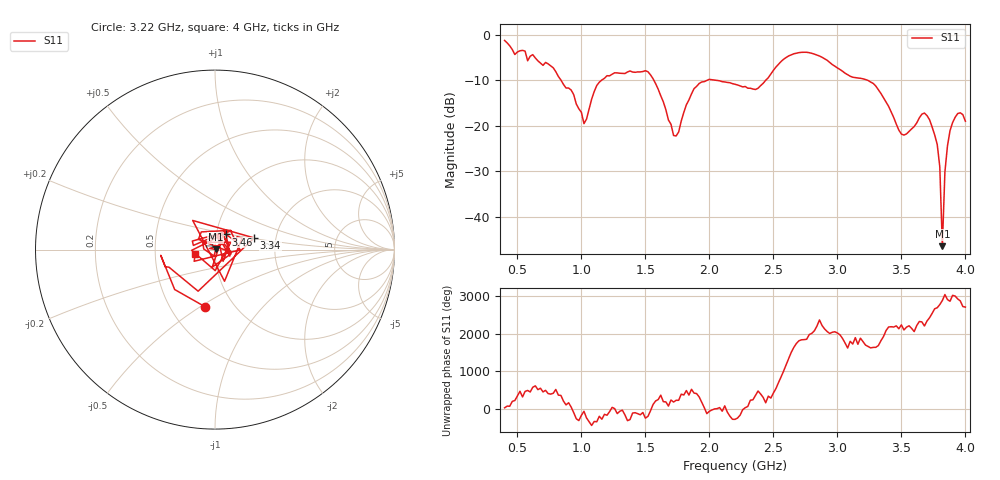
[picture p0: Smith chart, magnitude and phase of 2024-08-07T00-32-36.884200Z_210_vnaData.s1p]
!Created with skrf (http://scikit-rf.org).
# Hz S RI R 50.0
!freq ReS11 ImS11
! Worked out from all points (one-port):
!   181 points, 400 MHz to 4 GHz, reference 50 ohm
!   lowest |S11| = -46.4 dB at 3.82 GHz (marker M1), VSWR 1.01, Z = 50.5 + j0.079 ohm
!   |S11| at or under -10 dB: 1.567 GHz to 1.979 GHz (411.5 MHz wide, 23.2 % of centre); 2.063 GHz to 2.438 GHz (375 MHz wide, 16.7 % of centre); 3.24 GHz to end of sweep (the widest 3 of 4)
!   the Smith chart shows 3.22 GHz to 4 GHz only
!   S11 on the Smith chart (normalised r, x): 3.22 GHz: 0.74, -0.53; 3.34 GHz: 1.54, +0.21; 3.46 GHz: 1.12, +0.19; 4 GHz: 0.80, -0.04
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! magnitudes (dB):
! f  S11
! 400 MHz  -1.2
! 740 MHz  -6.3
! 860 MHz  -10.9
! 940 MHz  -13.1
! 1.02 GHz  -19.5
! 1.12 GHz  -11.1
! 1.3 GHz  -8.4
! 1.52 GHz  -8.1
! 1.72 GHz  -22.1
! 1.76 GHz  -21.3
! 1.82 GHz  -15.3
! 1.92 GHz  -10.7
! 2.2 GHz  -10.8
! 2.38 GHz  -11.7
! 2.66 GHz  -4.1
! 3.1 GHz  -9.1
! 3.22 GHz  -9.8
! 3.34 GHz  -12.8
! 3.46 GHz  -19.6
! 3.56 GHz  -21.2
! 3.68 GHz  -17.2
! 3.76 GHz  -22.0
! 3.8 GHz  -29.0
! 3.82 GHz  -46.4
! 3.84 GHz  -30.1
! 3.88 GHz  -21.0
! 3.94 GHz  -17.3
! 4 GHz  -19.0
